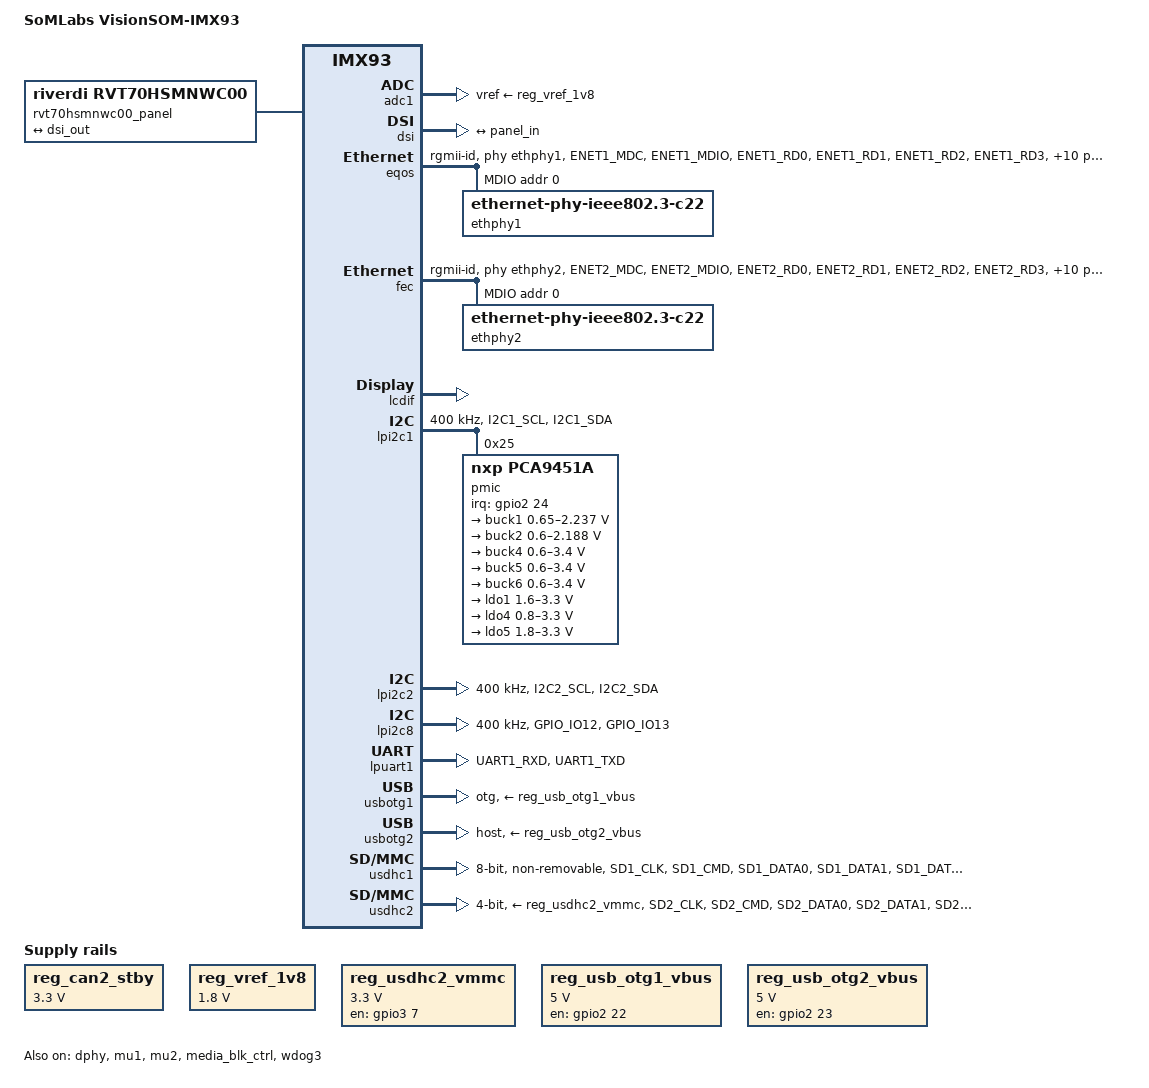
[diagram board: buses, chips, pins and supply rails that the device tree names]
// SPDX-License-Identifier: (GPL-2.0+ OR MIT)
/*
 * Copyright 2024 Somlabs
 */

/dts-v1/;

// #include <dt-bindings/usb/pd.h>
#include "imx93.dtsi"

/ {
	model = "SoMLabs VisionSOM-IMX93";
	compatible = "somlabs,visionsom-imx93", "fsl,imx93";

	chosen {
		bootargs = "console=ttyLP0,115200";
		stdout-path = &lpuart1;
	};

	reserved-memory {
		#address-cells = <2>;
		#size-cells = <2>;
		ranges;

		linux,cma {
			compatible = "shared-dma-pool";
			reusable;
			alloc-ranges = <0 0x80000000 0 0x40000000>;
			size = <0 0x10000000>;
			linux,cma-default;
		};
	};

	reg_can2_stby: regulator-can2-stby {
		compatible = "regulator-fixed";
		regulator-name = "can2-stby";
		regulator-min-microvolt = <3300000>;
		regulator-max-microvolt = <3300000>;
		// gpio = <&adp5585gpio 5 GPIO_ACTIVE_LOW>;
		enable-active-low;
	};

	reg_vref_1v8: regulator-adc-vref {
		compatible = "regulator-fixed";
		regulator-name = "vref_1v8";
		regulator-min-microvolt = <1800000>;
		regulator-max-microvolt = <1800000>;
	};

	reg_usdhc2_vmmc: regulator-usdhc2 {
		compatible = "regulator-fixed";
		pinctrl-names = "default";
		pinctrl-0 = <&pinctrl_reg_usdhc2_vmmc>;
		regulator-name = "VSD_3V3";
		regulator-min-microvolt = <3300000>;
		regulator-max-microvolt = <3300000>;
		gpio = <&gpio3 7 GPIO_ACTIVE_HIGH>;
		off-on-delay-us = <12000>;
		enable-active-high;
	};

	reg_usb_otg1_vbus: regulator-usbotg1-vbus {
		compatible = "regulator-fixed";
		pinctrl-names = "default";
		pinctrl-0 = <&pinctrl_usb_otg1>;
		regulator-name = "usb_otg1_vbus";
		regulator-min-microvolt = <5000000>;
		regulator-max-microvolt = <5000000>;
		gpio = <&gpio2 22 GPIO_ACTIVE_HIGH>;
		enable-active-high;
	};

	reg_usb_otg2_vbus: regulator-usbotg2-vbus {
		compatible = "regulator-fixed";
		pinctrl-names = "default";
		pinctrl-0 = <&pinctrl_usb_otg2>;
		regulator-name = "usb_otg2_vbus";
		regulator-min-microvolt = <5000000>;
		regulator-max-microvolt = <5000000>;
		gpio = <&gpio2 23 GPIO_ACTIVE_HIGH>;
		enable-active-high;
	};

	dsi_host: dsi-host {
		compatible = "synopsys,dw-mipi-dsi";
		status = "okay";
	};

	rvt70hsmnwc00_panel {
		compatible = "riverdi,rvt70hsmnwc00";
		// reset-gpio = <&adp5585gpio 6 GPIO_ACTIVE_LOW>;
		dsi-lanes = <2>;
		video-mode = <2>;	/* 0: burst mode
					 * 1: non-burst mode with sync event
					 * 2: non-burst mode with sync pulse
					 */
		width-mm = <68>;
		height-mm = <121>;
		status = "okay";

		port {
			panel_in: endpoint {
				remote-endpoint = <&dsi_out>;
			};
		};
	};
};

&adc1 {
	vref-supply = <&reg_vref_1v8>;
	status = "okay";
};

&dphy {
	status = "okay";
};

&dsi {
	status = "okay";

	ports {
		port@1 {
			dsi_out: endpoint {
				remote-endpoint = <&panel_in>;
			};
		};
	};
};

&mu1 {
	status = "okay";
};

&mu2 {
	status = "okay";
};

&eqos {
	pinctrl-names = "default";
	pinctrl-0 = <&pinctrl_eqos>;
	phy-mode = "rgmii-id";
	phy-handle = <&ethphy1>;
	status = "okay";

	mdio {
		compatible = "snps,dwmac-mdio";
		#address-cells = <1>;
		#size-cells = <0>;
		clock-frequency = <5000000>;

		ethphy1: ethernet-phy@0 {
			compatible = "ethernet-phy-ieee802.3-c22";
			reg = <0>;
		};
	};
};

&fec {
	pinctrl-names = "default";
	pinctrl-0 = <&pinctrl_fec>;
	phy-mode = "rgmii-id";
	phy-handle = <&ethphy2>;
	fsl,magic-packet;
	status = "okay";

	mdio {
		#address-cells = <1>;
		#size-cells = <0>;
		clock-frequency = <5000000>;

		ethphy2: ethernet-phy@0 {
			compatible = "ethernet-phy-ieee802.3-c22";
			reg = <0>;
		};
	};
};

&lcdif {
	status = "okay";
	assigned-clock-rates = <484000000>, <121000000>, <400000000>, <133333333>;
};

&lpi2c1 {
	#address-cells = <1>;
	#size-cells = <0>;
	clock-frequency = <400000>;
	pinctrl-names = "default", "sleep";
	pinctrl-0 = <&pinctrl_lpi2c1>;
	pinctrl-1 = <&pinctrl_lpi2c1>;
	status = "okay";

	pmic@25 {
		compatible = "nxp,pca9451a";
		reg = <0x25>;
		interrupt-parent = <&gpio2>;
		interrupts = <24 IRQ_TYPE_EDGE_FALLING>;	// MX93_PAD_GPIO_IO24__GPIO2_IO24

		regulators {
			buck1: BUCK1 {
				regulator-name = "BUCK1";
				regulator-min-microvolt = <650000>;
				regulator-max-microvolt = <2237500>;
				regulator-boot-on;
				regulator-always-on;
				regulator-ramp-delay = <3125>;
			};

			buck2: BUCK2 {
				regulator-name = "BUCK2";
				regulator-min-microvolt = <600000>;
				regulator-max-microvolt = <2187500>;
				regulator-boot-on;
				regulator-always-on;
				regulator-ramp-delay = <3125>;
			};

			buck4: BUCK4{
				regulator-name = "BUCK4";
				regulator-min-microvolt = <600000>;
				regulator-max-microvolt = <3400000>;
				regulator-boot-on;
				regulator-always-on;
			};

			buck5: BUCK5{
				regulator-name = "BUCK5";
				regulator-min-microvolt = <600000>;
				regulator-max-microvolt = <3400000>;
				regulator-boot-on;
				regulator-always-on;
			};

			buck6: BUCK6 {
				regulator-name = "BUCK6";
				regulator-min-microvolt = <600000>;
				regulator-max-microvolt = <3400000>;
				regulator-boot-on;
				regulator-always-on;
			};

			ldo1: LDO1 {
				regulator-name = "LDO1";
				regulator-min-microvolt = <1600000>;
				regulator-max-microvolt = <3300000>;
				regulator-boot-on;
				regulator-always-on;
			};

			ldo4: LDO4 {
				regulator-name = "LDO4";
				regulator-min-microvolt = <800000>;
				regulator-max-microvolt = <3300000>;
				regulator-boot-on;
				regulator-always-on;
			};

			ldo5: LDO5 {
				regulator-name = "LDO5";
				regulator-min-microvolt = <1800000>;
				regulator-max-microvolt = <3300000>;
				regulator-boot-on;
				regulator-always-on;
			};
		};
	};

};

&lpi2c2 {
	#address-cells = <1>;
	#size-cells = <0>;
	clock-frequency = <400000>;
	pinctrl-names = "default", "sleep";
	pinctrl-0 = <&pinctrl_lpi2c2>;
	pinctrl-1 = <&pinctrl_lpi2c2>;
	status = "okay";
};

&lpi2c8 {
	#address-cells = <1>;
	#size-cells = <0>;
	clock-frequency = <400000>;
	pinctrl-names = "default", "sleep";
	pinctrl-0 = <&pinctrl_lpi2c8>;
	pinctrl-1 = <&pinctrl_lpi2c8>;
	status = "okay";
};

&lpuart1 { /* console */
	pinctrl-names = "default";
	pinctrl-0 = <&pinctrl_uart1>;
	status = "okay";
};

&media_blk_ctrl {
	status = "okay";
};

&usbotg1 {
	dr_mode = "otg";
	hnp-disable;
	srp-disable;
	adp-disable;
	usb-role-switch;
	disable-over-current;
	samsung,picophy-pre-emp-curr-control = <3>;
	samsung,picophy-dc-vol-level-adjust = <7>;

	vbus-supply = <&reg_usb_otg1_vbus>;

	status = "okay";
};

&usbotg2 {
	dr_mode = "host";
	hnp-disable;
	srp-disable;
	adp-disable;
	// usb-role-switch;
	disable-over-current;
	samsung,picophy-pre-emp-curr-control = <3>;
	samsung,picophy-dc-vol-level-adjust = <7>;

	vbus-supply = <&reg_usb_otg2_vbus>;

	status = "okay";
};

&usdhc1 {
	pinctrl-names = "default", "state_100mhz", "state_200mhz";
	pinctrl-0 = <&pinctrl_usdhc1>;
	pinctrl-1 = <&pinctrl_usdhc1_100mhz>;
	pinctrl-2 = <&pinctrl_usdhc1_200mhz>;
	bus-width = <8>;
	non-removable;
	status = "okay";
};

&usdhc2 {	/* carrier board SDIO */
	pinctrl-names = "default", "state_100mhz", "state_200mhz";
	pinctrl-0 = <&pinctrl_usdhc2>;
	pinctrl-1 = <&pinctrl_usdhc2_100mhz>;
	pinctrl-2 = <&pinctrl_usdhc2_200mhz>;
	vmmc-supply = <&reg_usdhc2_vmmc>;
	bus-width = <4>;
	status = "okay";
	no-sdio;
	no-mmc;
};

&usdhc3 {	/* on-board WiFi module - not needed in uboot */
	status = "disabled";
};

&wdog3 {
	status = "okay";
};

&iomuxc {

	pinctrl_usb_otg1: usbotg1grp {
		fsl,pins = <
			MX93_PAD_GPIO_IO22__GPIO2_IO22			0x31e	/* USB1 VBUS EN */
			MX93_PAD_SD2_RESET_B__GPIO3_IO07		0x31e	/* USB1 VBUS OC */
		>;
	};

	pinctrl_usb_otg2: usbotg2grp {
		fsl,pins = <
			MX93_PAD_GPIO_IO23__GPIO2_IO23			0x31e	/* USB2 VBUS EN */
			MX93_PAD_SD2_CD_B__GPIO3_IO00			0x31e	/* USB2 VBUS OC */
		>;
	};

	pinctrl_eqos: eqosgrp {
		fsl,pins = <
			MX93_PAD_ENET1_MDC__ENET_QOS_MDC			0x57e
			MX93_PAD_ENET1_MDIO__ENET_QOS_MDIO			0x57e
			MX93_PAD_ENET1_RD0__ENET_QOS_RGMII_RD0			0x57e
			MX93_PAD_ENET1_RD1__ENET_QOS_RGMII_RD1			0x57e
			MX93_PAD_ENET1_RD2__ENET_QOS_RGMII_RD2			0x57e
			MX93_PAD_ENET1_RD3__ENET_QOS_RGMII_RD3			0x57e
			MX93_PAD_ENET1_RXC__CCM_ENET_QOS_CLOCK_GENERATE_RX_CLK	0x5fe
			MX93_PAD_ENET1_RX_CTL__ENET_QOS_RGMII_RX_CTL		0x57e
			MX93_PAD_ENET1_TD0__ENET_QOS_RGMII_TD0			0x57e
			MX93_PAD_ENET1_TD1__ENET_QOS_RGMII_TD1			0x57e
			MX93_PAD_ENET1_TD2__ENET_QOS_RGMII_TD2			0x57e
			MX93_PAD_ENET1_TD3__ENET_QOS_RGMII_TD3			0x57e
			MX93_PAD_ENET1_TXC__CCM_ENET_QOS_CLOCK_GENERATE_TX_CLK	0x5fe
			MX93_PAD_ENET1_TX_CTL__ENET_QOS_RGMII_TX_CTL		0x57e
			MX93_PAD_CCM_CLKO3__GPIO4_IO28				0x31e	/* RESET */
			MX93_PAD_CCM_CLKO4__GPIO4_IO29				0x31e	/* interrupt */
		>;
	};

	pinctrl_fec: fecgrp {
		fsl,pins = <
			MX93_PAD_ENET2_MDC__ENET1_MDC			0x57e
			MX93_PAD_ENET2_MDIO__ENET1_MDIO			0x57e
			MX93_PAD_ENET2_RD0__ENET1_RGMII_RD0		0x57e
			MX93_PAD_ENET2_RD1__ENET1_RGMII_RD1		0x57e
			MX93_PAD_ENET2_RD2__ENET1_RGMII_RD2		0x57e
			MX93_PAD_ENET2_RD3__ENET1_RGMII_RD3		0x57e
			MX93_PAD_ENET2_RXC__ENET1_RGMII_RXC		0x5fe
			MX93_PAD_ENET2_RX_CTL__ENET1_RGMII_RX_CTL	0x57e
			MX93_PAD_ENET2_TD0__ENET1_RGMII_TD0		0x57e
			MX93_PAD_ENET2_TD1__ENET1_RGMII_TD1		0x57e
			MX93_PAD_ENET2_TD2__ENET1_RGMII_TD2		0x57e
			MX93_PAD_ENET2_TD3__ENET1_RGMII_TD3		0x57e
			MX93_PAD_ENET2_TXC__ENET1_RGMII_TXC		0x5fe
			MX93_PAD_ENET2_TX_CTL__ENET1_RGMII_TX_CTL	0x57e
			MX93_PAD_CCM_CLKO1__GPIO3_IO26			0x31e	/* RESET */
			MX93_PAD_CCM_CLKO2__GPIO3_IO27			0x31e	/* interrupt */
		>;
	};

	pinctrl_lpi2c1: lpi2c1grp {
		fsl,pins = <
			MX93_PAD_I2C1_SCL__LPI2C1_SCL			0x40000b9e
			MX93_PAD_I2C1_SDA__LPI2C1_SDA			0x40000b9e
		>;
	};

	pinctrl_lpi2c2: lpi2c2grp {
		fsl,pins = <
			MX93_PAD_I2C2_SCL__LPI2C2_SCL			0x40000b9e
			MX93_PAD_I2C2_SDA__LPI2C2_SDA			0x40000b9e
		>;
	};

	pinctrl_lpi2c8: lpi2c8grp {
		fsl,pins = <
			MX93_PAD_GPIO_IO12__LPI2C8_SDA			0x40000b9e
			MX93_PAD_GPIO_IO13__LPI2C8_SCL			0x40000b9e
		>;
	};

	pinctrl_pcal6524: pcal6524grp {
		fsl,pins = <
			MX93_PAD_CCM_CLKO2__GPIO3_IO27			0x31e
		>;
	};

	pinctrl_uart1: uart1grp {
		fsl,pins = <
			MX93_PAD_UART1_RXD__LPUART1_RX			0x31e
			MX93_PAD_UART1_TXD__LPUART1_TX			0x31e
		>;
	};

	/* need to config the SION for data and cmd pad, refer to ERR052021 */
	pinctrl_usdhc1: usdhc1grp {
		fsl,pins = <
			MX93_PAD_SD1_CLK__USDHC1_CLK		0x1582
			MX93_PAD_SD1_CMD__USDHC1_CMD		0x40001382
			MX93_PAD_SD1_DATA0__USDHC1_DATA0	0x40001382
			MX93_PAD_SD1_DATA1__USDHC1_DATA1	0x40001382
			MX93_PAD_SD1_DATA2__USDHC1_DATA2	0x40001382
			MX93_PAD_SD1_DATA3__USDHC1_DATA3	0x40001382
			MX93_PAD_SD1_DATA4__USDHC1_DATA4	0x40001382
			MX93_PAD_SD1_DATA5__USDHC1_DATA5	0x40001382
			MX93_PAD_SD1_DATA6__USDHC1_DATA6	0x40001382
			MX93_PAD_SD1_DATA7__USDHC1_DATA7	0x40001382
			MX93_PAD_SD1_STROBE__USDHC1_STROBE	0x1582
		>;
	};

	/* need to config the SION for data and cmd pad, refer to ERR052021 */
	pinctrl_usdhc1_100mhz: usdhc1-100mhzgrp {
		fsl,pins = <
			MX93_PAD_SD1_CLK__USDHC1_CLK		0x158e
			MX93_PAD_SD1_CMD__USDHC1_CMD		0x4000138e
			MX93_PAD_SD1_DATA0__USDHC1_DATA0	0x4000138e
			MX93_PAD_SD1_DATA1__USDHC1_DATA1	0x4000138e
			MX93_PAD_SD1_DATA2__USDHC1_DATA2	0x4000138e
			MX93_PAD_SD1_DATA3__USDHC1_DATA3	0x4000138e
			MX93_PAD_SD1_DATA4__USDHC1_DATA4	0x4000138e
			MX93_PAD_SD1_DATA5__USDHC1_DATA5	0x4000138e
			MX93_PAD_SD1_DATA6__USDHC1_DATA6	0x4000138e
			MX93_PAD_SD1_DATA7__USDHC1_DATA7	0x4000138e
			MX93_PAD_SD1_STROBE__USDHC1_STROBE	0x158e
		>;
	};

	/* need to config the SION for data and cmd pad, refer to ERR052021 */
	pinctrl_usdhc1_200mhz: usdhc1-200mhzgrp {
		fsl,pins = <
			MX93_PAD_SD1_CLK__USDHC1_CLK		0x15fe
			MX93_PAD_SD1_CMD__USDHC1_CMD		0x400013fe
			MX93_PAD_SD1_DATA0__USDHC1_DATA0	0x400013fe
			MX93_PAD_SD1_DATA1__USDHC1_DATA1	0x400013fe
			MX93_PAD_SD1_DATA2__USDHC1_DATA2	0x400013fe
			MX93_PAD_SD1_DATA3__USDHC1_DATA3	0x400013fe
			MX93_PAD_SD1_DATA4__USDHC1_DATA4	0x400013fe
			MX93_PAD_SD1_DATA5__USDHC1_DATA5	0x400013fe
			MX93_PAD_SD1_DATA6__USDHC1_DATA6	0x400013fe
			MX93_PAD_SD1_DATA7__USDHC1_DATA7	0x400013fe
			MX93_PAD_SD1_STROBE__USDHC1_STROBE	0x15fe
		>;
	};

	pinctrl_reg_usdhc2_vmmc: regusdhc2vmmcgrp {
		fsl,pins = <
			MX93_PAD_SD2_RESET_B__GPIO3_IO07	0x31e
		>;
	};

	/* need to config the SION for data and cmd pad, refer to ERR052021 */
	pinctrl_usdhc2: usdhc2grp {
		fsl,pins = <
			MX93_PAD_SD2_CLK__USDHC2_CLK		0x1582
			MX93_PAD_SD2_CMD__USDHC2_CMD		0x40001382
			MX93_PAD_SD2_DATA0__USDHC2_DATA0	0x40001382
			MX93_PAD_SD2_DATA1__USDHC2_DATA1	0x40001382
			MX93_PAD_SD2_DATA2__USDHC2_DATA2	0x40001382
			MX93_PAD_SD2_DATA3__USDHC2_DATA3	0x40001382
			MX93_PAD_SD2_VSELECT__USDHC2_VSELECT	0x51e
		>;
	};

	/* need to config the SION for data and cmd pad, refer to ERR052021 */
	pinctrl_usdhc2_100mhz: usdhc2-100mhzgrp {
		fsl,pins = <
			MX93_PAD_SD2_CLK__USDHC2_CLK		0x158e
			MX93_PAD_SD2_CMD__USDHC2_CMD		0x4000138e
			MX93_PAD_SD2_DATA0__USDHC2_DATA0	0x4000138e
			MX93_PAD_SD2_DATA1__USDHC2_DATA1	0x4000138e
			MX93_PAD_SD2_DATA2__USDHC2_DATA2	0x4000138e
			MX93_PAD_SD2_DATA3__USDHC2_DATA3	0x4000138e
			MX93_PAD_SD2_VSELECT__USDHC2_VSELECT	0x51e
		>;
	};

	/* need to config the SION for data and cmd pad, refer to ERR052021 */
	pinctrl_usdhc2_200mhz: usdhc2-200mhzgrp {
		fsl,pins = <
			MX93_PAD_SD2_CLK__USDHC2_CLK		0x15fe
			MX93_PAD_SD2_CMD__USDHC2_CMD		0x400013fe
			MX93_PAD_SD2_DATA0__USDHC2_DATA0	0x400013fe
			MX93_PAD_SD2_DATA1__USDHC2_DATA1	0x400013fe
			MX93_PAD_SD2_DATA2__USDHC2_DATA2	0x400013fe
			MX93_PAD_SD2_DATA3__USDHC2_DATA3	0x400013fe
			MX93_PAD_SD2_VSELECT__USDHC2_VSELECT	0x51e
		>;
	};
};
